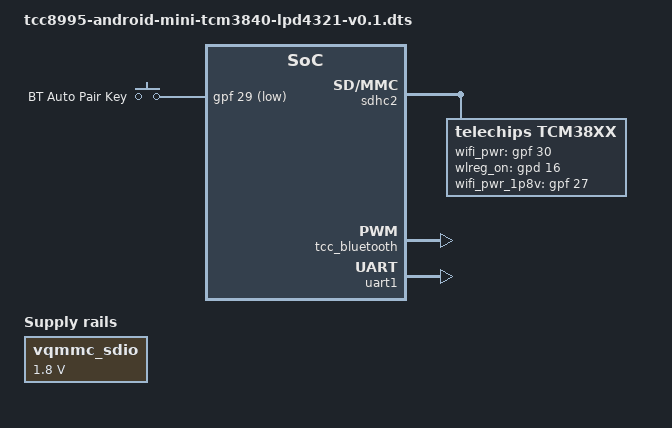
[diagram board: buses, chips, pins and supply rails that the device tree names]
// SPDX-License-Identifier: (GPL-2.0+ OR MIT)
/*
 * Device tree for Telechips TCC8990 STB board
 *
 * Copyright (C) 2018 Telechips Inc.
*/

#ifndef DT_OVERLAY
/dts-v1/;
#endif

#include "tcc8995-android-mini.dtsi"

&cpu_opp_table {
        compatible = "operating-points-v2";
        opp-shared;

        opp0 {
                opp-hz = /bits/ 64 <900000000>;
                opp-microvolt = <800000>;
                clock-latency-ns = <300000>;
        };

        opp1 {
                opp-hz = /bits/ 64 <890000000>;
                opp-microvolt = <800000>;
                clock-latency-ns = <300000>;
        };

        opp2 {
                opp-hz = /bits/ 64 <880000000>;
                opp-microvolt = <800000>;
                clock-latency-ns = <300000>;
        };

};

/* CPU Power Control */
&vdd_cpu {
	gpios = <&gpf 5 0x4>;
};

&vqmmc_sdio {
	compatible = "regulator-fixed";
	regulator-name = "vqmmc_sdio";
	regulator-min-microvolt = <1800000>;
	regulator-max-microvolt = <1800000>;
	regulator-always-on;
};

&sdhc2 {
	compatible = "telechips,tcc-sdhci";
	//tcc-mmc-channel-mux = <2>;
	//tcc-mmc-clk-out-tap = <29>;
	//tcc-mmc-cmd-tap = <4>;
	//tcc-mmc-data-tap = <4>;

	//non-removable;
	keep-power-in-suspend;
	cap-sdio-irq;

	vqmmc-supply = <&vqmmc_sdio>;

	cd-force-presence-change;

	tcm38xx {
		compatible = "telechips,tcm38xx";
		wifi_pwr-gpio = <&gpf 30 0>;
		wlreg_on-gpio = <&gpd 16 0>;
		wifi_pwr_1p8v-gpio = <&gpf 27 0>;
		//wifi_pwr_3p3v-gpio = <&gpsd1 7 0>;
	};
};

/* USB 3.0 DRD */
&dwc3_phy {
	status = "disable";
};
&dwc3 {
	status = "disable";
	//usb3en-ctrl-able;
	//usb3en-gpio = <&gpc 22 0>;
	//vbus-source-ctrl;
	//vbus-ctrl-able;
	//vbus-gpio = <&gpd 19 0>;
	//pinctrl-names = "default";
	//vdd_dwc-supply = <&vdd_v5p0_reg>;
};

/* USB 2.0 HOST */
&ehci_phy {
	status = "disable";
	//vbus-ctrl-able;
	//vbus-gpio = <&gpd 15 0>;
};

&tcc_bluetooth {
	compatible = "telechips, tcc_bluetooth";
	bt_power-gpio = <&gpf 30 0>; /* BTWIFI_VBAT_EN */
	bt_reg_on-gpio = <&gpd 15 0>;
	bt_wake-gpio = <&gpd 0 0>;
	bt_hwake-gpio = <&gpd 9 0>;
	bt_power_1p8v-gpio = <&gpf 27 0>;
	//bt_power_3p3v-gpio = <&gpsd1 7 0>;
	status = "okay";
};

&gpio_keys_polled {
	compatible = "gpio-keys-polled";
	#address-cells = <1>;
	#size-cells = <0>;
	poll-interval = <100>;
	autorepeat;
	button@0 {
		label = "BT Auto Pair Key";
		linux,code = <218>;
		gpios = <&gpf 29 1>;
	};
};

/* bluetooth */
&uart1 {
	pinctrl-names = "default";
	pinctrl-0 = <&uart4_data &uart4_rtscts>;
	dmas = <&udma1 2 2 &udma1 3 2>;
	dma-names = "tx", "rx";
	status = "okay";
};

&gpu {
        operating-points-v2 = <&gpu_opp_table>;
};

&gpu_opp_table {
    opp@444000000 {
	opp-hz = /bits/ 64 <400000000>;
	opp-core-mask = /bits/ 64 <0x3>;
    };
/*
    opp@592000000 {
        opp-hz = /bits/ 64 <390000000>;
        opp-core-mask = /bits/ 64 <0x3>;
    };
    opp@666000000 {
        opp-hz = /bits/ 64 <380000000>;
        opp-core-mask = /bits/ 64 <0x3>;
    };
*/
};
